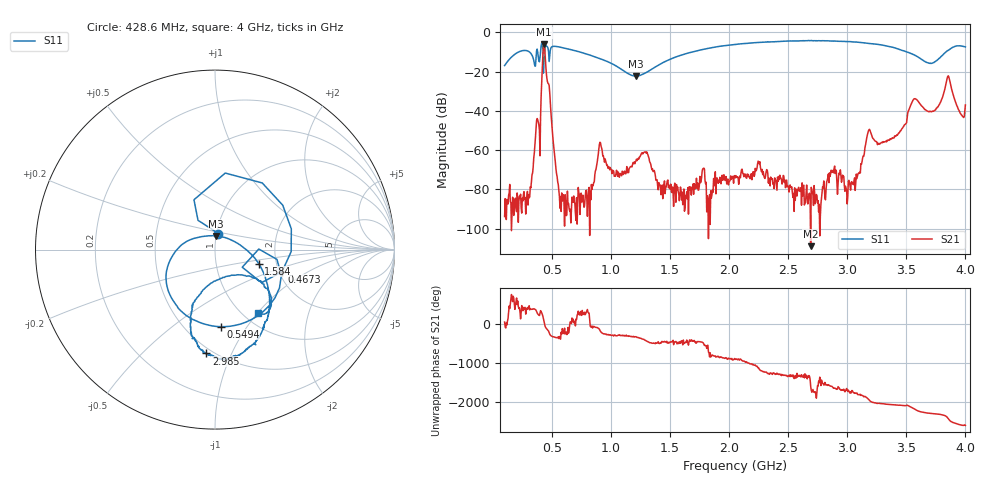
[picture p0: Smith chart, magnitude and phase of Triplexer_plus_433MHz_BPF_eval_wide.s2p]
# HZ S RI R 50
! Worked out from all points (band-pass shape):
!   808 points, 100 MHz to 4 GHz, reference 50 ohm
!   highest |S21| = -6.09 dB at 433.5 MHz (marker M1); lowest = -108.8 dB at 2.69 GHz (marker M2)
!   |S21| within 3 dB of the highest: 426.6 MHz to 440.1 MHz (13.48 MHz wide, 3.11 % of centre)
!   lowest |S11| = -22.3 dB at 1.212 GHz (marker M3), VSWR 1.17, Z = 50.1 + j7.69 ohm
!   |S11| at or under -10 dB: start of sweep to 219.3 MHz; 736 MHz to 1.687 GHz (951.1 MHz wide, 78.5 % of centre); 3.504 GHz to 3.836 GHz (331.7 MHz wide, 9.04 % of centre)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
!   S12 and S22 are empty: the file has one direction only
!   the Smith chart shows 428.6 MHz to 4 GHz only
!   S11 on the Smith chart (normalised r, x): 428.6 MHz: 1.02, +0.18; 467.3 MHz: 2.07, -0.60; 549.4 MHz: 0.73, -0.77; 1.584 GHz: 1.62, -0.27; 2.985 GHz: 0.46, -0.81; 4 GHz: 1.17, -1.00
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1e8  0.1418 0.0131  1.32e-05 1.57e-05  0 0  0 0
3.174721e8  -0.276 -0.1217  9.66e-05 6.73e-05  0 0  0 0
3.947956e8  0.1767 -0.0225  -0.00254 -0.00193  0 0  0 0
4.286246e8  0.0193 0.0895  -0.305 0.3268  0 0  0 0
4.334573e8  -0.0947 0.1632  0.234 0.4371  0 0  0 0
4.672863e8  0.3734 -0.1233  -0.0459 -0.0202  0 0  0 0
5.494424e8  0.0314 -0.4295  0.000154 2.43e-05  0 0  0 0
7.524164e8  -0.2726 -0.1398  -3.64e-05 -3.12e-05  0 0  0 0
8.394052e8  -0.2466 -0.0526  6.61e-05 -7.5e-05  0 0  0 0
9.11896e8  -0.2106 0.00169  -0.00151 0.000233  0 0  0 0
1.047212e9  -0.1233 0.06  0.00015 0.00027  0 0  0 0
1.211524e9  0.00696 0.0762  0.000413 0.000336  0 0  0 0
1.4e9  0.1431 0.0235  2.62e-07 -9.85e-05  0 0  0 0
1.583643e9  0.2436 -0.0784  1.56e-06 -7.33e-05  0 0  0 0
2.052416e9  0.277 -0.4062  -0.000198 -1.39e-06  0 0  0 0
2.690335e9  0.0606 -0.6107  -2.75e-06 -2.34e-06  0 0  0 0
2.7e9  0.0581 -0.609  4.82e-05 9.07e-05  0 0  0 0
2.98513e9  -0.0477 -0.5786  -2.44e-05 0.000119  0 0  0 0
3.183272e9  -0.1084 -0.5091  -0.00205 -0.00255  0 0  0 0
3.352417e9  -0.1358 -0.4129  -0.000593 0.00167  0 0  0 0
3.855019e9  0.2781 -0.2067  -0.0217 0.075  0 0  0 0
4e9  0.2392 -0.3509  0.00585 -0.0129  0 0  0 0
